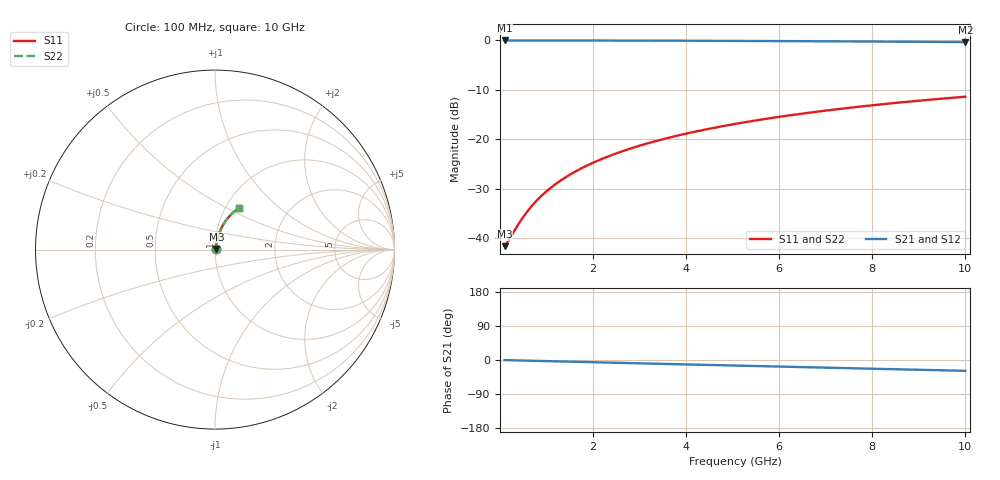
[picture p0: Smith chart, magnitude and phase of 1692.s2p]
# Hz S RI R 50.00
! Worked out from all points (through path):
!   100 points, 100 MHz to 10 GHz, reference 50 ohm
!   highest |S21| = -0.07 dB at 100 MHz (marker M1); lowest = -0.4 dB at 10 GHz (marker M2)
!   group delay of S21, straight-line fit = 7.94 ps
!   lowest |S11| = -41.6 dB at 100 MHz (marker M3), VSWR 1.02, Z = 50.8 + j0.287 ohm
!   |S11| at or under -10 dB: start of sweep to end of sweep
!   |S22| runs from -41.6 to -11.4 dB; largest |S21 - S12| = 0
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1e8  0.00778 0.00282  0.9922 -0.00506  0.9922 -0.00506  0.00778 0.00282
2e8  0.00787 0.00564  0.9921 -0.0101  0.9921 -0.0101  0.00787 0.00564
4e8  0.00811 0.0113  0.9918 -0.0202  0.9918 -0.0202  0.00811 0.0113
5e8  0.00827 0.0141  0.9917 -0.0253  0.9917 -0.0253  0.00827 0.0141
6e8  0.00845 0.0169  0.9914 -0.0303  0.9914 -0.0303  0.00845 0.0169
7e8  0.00866 0.0197  0.9912 -0.0354  0.9912 -0.0354  0.00866 0.0197
8e8  0.00889 0.0225  0.9909 -0.0404  0.9909 -0.0404  0.00889 0.0225
1e9  0.00944 0.0281  0.9903 -0.0505  0.9903 -0.0505  0.00944 0.0281
1.2e9  0.0101 0.0337  0.9895 -0.0606  0.9895 -0.0606  0.0101 0.0337
1.5e9  0.0113 0.0421  0.9881 -0.0756  0.9881 -0.0756  0.0113 0.0421
1.8e9  0.0127 0.0504  0.9864 -0.0906  0.9864 -0.0906  0.0127 0.0504
2.1e9  0.0144 0.0587  0.9844 -0.1056  0.9844 -0.1056  0.0144 0.0587
2.5e9  0.0171 0.0696  0.9813 -0.1255  0.9813 -0.1255  0.0171 0.0696
2.9e9  0.0202 0.0804  0.9777 -0.1452  0.9777 -0.1452  0.0202 0.0804
3.4e9  0.0246 0.0936  0.9724 -0.1697  0.9724 -0.1697  0.0246 0.0936
4.2e9  0.0331 0.1143  0.9624 -0.2082  0.9624 -0.2082  0.0331 0.1143
5.1e9  0.0445 0.1365  0.9488 -0.2506  0.9488 -0.2506  0.0445 0.1365
5.9e9  0.0562 0.1552  0.9349 -0.2873  0.9349 -0.2873  0.0562 0.1552
6.7e9  0.0693 0.1727  0.9192 -0.3228  0.9192 -0.3228  0.0693 0.1727
7.5e9  0.0836 0.1891  0.902 -0.3572  0.902 -0.3572  0.0836 0.1891
8.4e9  0.101 0.206  0.8808 -0.3944  0.8808 -0.3944  0.101 0.206
1e10  0.1349 0.2316  0.8392 -0.4562  0.8392 -0.4562  0.1349 0.2316
